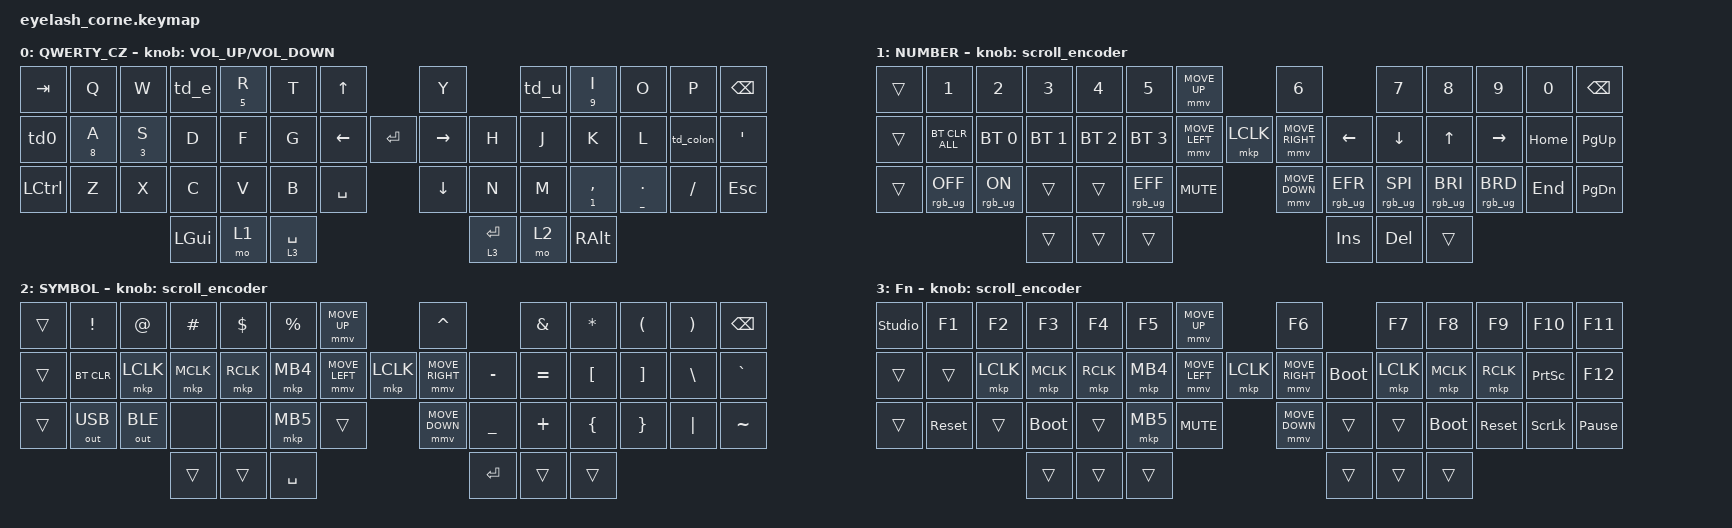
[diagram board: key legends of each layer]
/*
eyelash_corne.keymap (DTS overlay)
Ulož pod config/ jako eyelash_corne.keymap
*/

#include <input/processors.dtsi>
#include <zephyr/dt-bindings/input/input-event-codes.h>
#include <behaviors.dtsi>
#include <dt-bindings/zmk/bt.h>
#include <dt-bindings/zmk/keys.h>
#include <dt-bindings/zmk/outputs.h>
#include <dt-bindings/zmk/pointing.h>
#include <dt-bindings/zmk/rgb.h>

&mmv_input_listener { input-processors = <&zip_xy_scaler 2 1>; };
&msc_input_listener { input-processors = <&zip_scroll_scaler 2 1>; };

&msc {
    acceleration-exponent = <1>;
    time-to-max-speed-ms = <100>;
    delay-ms = <0>;
};

&mmv {
    time-to-max-speed-ms = <500>;
    acceleration-exponent = <1>;
    trigger-period-ms = <16>;
};

/ {
    behaviors {
        td0: td0 {
            compatible = "zmk,behavior-tap-dance";
            display-name = "Shift/Caps Lock Tap Dance";
            #binding-cells = <0>;
            bindings = <&kp LEFT_SHIFT>, <&kp CAPS>;
            tapping-term-ms = <200>;
        };

        td_e: td_e {
            compatible = "zmk,behavior-tap-dance";
            #binding-cells = <0>;
            bindings = <&kp E>, <&kp N9>, <&kp N3>; // E, é, ě
            tapping-term-ms = <200>;
        };

        td_u: td_u {
            compatible = "zmk,behavior-tap-dance";
            #binding-cells = <0>;
            bindings = <&kp U>, <&kp EQUAL>, <&kp LS(N9)>; // U, ú, ů
            tapping-term-ms = <200>;
        };

        // České znaky - TAP = normální písmeno, HOLD = diakritika z číselné řady
        cz_ht: cz_ht {
            compatible = "zmk,behavior-hold-tap";
            #binding-cells = <2>;
            flavor = "tap-preferred";
            tapping-term-ms = <200>;
            quick-tap-ms = <125>;
            bindings = <&kp>, <&kp>; // První parametr = HOLD, druhý = TAP
        };

        td_colon: td_colon {
            compatible = "zmk,behavior-tap-dance";
            #binding-cells = <0>;
            bindings = <&kp LS(DOT)>, <&kp SLASH>, <&kp LS(RBKT)>; // :, /, *
            tapping-term-ms = <200>;
        };

        // Čárka s 1
        cz_comma: cz_comma {
            compatible = "zmk,behavior-hold-tap";
            #binding-cells = <2>;
            flavor = "tap-preferred";
            tapping-term-ms = <200>;
            quick-tap-ms = <125>;
            bindings = <&kp>, <&kp>;
        };

        // Tečka s _
        cz_dot: cz_dot {
            compatible = "zmk,behavior-hold-tap";
            #binding-cells = <2>;
            flavor = "tap-preferred";
            tapping-term-ms = <200>;
            quick-tap-ms = <125>;
            bindings = <&kp>, <&kp>;
        };
    };

    macros {
        // Jednoduché makra nejsou potřeba, použijeme přímé key codes
    };

    rgb_encoder: rgb_encoder {
        compatible = "zmk,behavior-sensor-rotate";
        #sensor-binding-cells = <0>;
        bindings = <&rgb_ug RGB_BRI>, <&rgb_ug RGB_BRD>;
    };

    scroll_encoder: scroll_encoder {
        compatible = "zmk,behavior-sensor-rotate";
        #sensor-binding-cells = <0>;
        bindings = <&msc SCRL_DOWN>, <&msc SCRL_UP>;
        tap-ms = <100>;
    };

    keymap {
        compatible = "zmk,keymap";

        default_layer {
            display-name = "QWERTY_CZ";
            bindings = <
&kp TAB    &kp Q             &kp W             &td_e                      &cz_ht N5 R           &kp T                               &kp UP                &kp Y            &td_u            &cz_ht N9 I      &kp O            &kp P             &kp BSPC
&td0       &cz_ht N8 A       &cz_ht N3 S       &kp D                      &kp F                 &kp G                             &kp LEFT  &kp ENTER  &kp RIGHT  &kp H            &kp J            &kp K            &kp L            &td_colon         &kp SQT
&kp LCTRL  &kp Z             &kp X             &kp C                      &kp V                 &kp B                   &kp SPACE              &kp DOWN              &kp N            &kp M            &cz_comma N1 COMMA &cz_dot UNDER DOT &kp FSLH         &kp ESC
                                               &kp LGUI                   &mo 1                 &lt 3 SPACE                                                        &lt 3 ENTER      &mo 2            &kp RALT
            >;

            sensor-bindings = <&inc_dec_kp C_VOLUME_UP C_VOLUME_DOWN>;
        };

        lower_layer {
            display-name = "NUMBER";
            bindings = <
&trans  &kp N1           &kp N2          &kp N3        &kp N4        &kp N5                                         &mmv MOVE_UP                     &kp N6           &kp N7           &kp N8           &kp N9           &kp N0    &kp BSPC
&trans  &bt BT_CLR_ALL   &bt BT_SEL 0    &bt BT_SEL 1  &bt BT_SEL 2  &bt BT_SEL 3                   &mmv MOVE_LEFT  &mkp LCLK       &mmv MOVE_RIGHT  &kp LEFT         &kp DOWN         &kp UP           &kp RIGHT        &kp HOME  &kp PG_UP
&trans  &rgb_ug RGB_OFF  &rgb_ug RGB_ON  &trans        &trans        &rgb_ug RGB_EFF  &kp C_MUTE                    &mmv MOVE_DOWN                   &rgb_ug RGB_EFR  &rgb_ug RGB_SPI  &rgb_ug RGB_BRI  &rgb_ug RGB_BRD  &kp END   &kp PG_DN
                                         &trans        &trans        &trans                                                                          &kp INS          &kp DEL          &trans
            >;

            sensor-bindings = <&scroll_encoder>;
        };

        raise_layer {
            display-name = "SYMBOL";
            bindings = <
&trans  &kp EXCL      &kp AT        &kp HASH   &kp DLLR   &kp PRCNT                            &mmv MOVE_UP                     &kp CARET  &kp AMPS   &kp ASTRK  &kp LPAR  &kp RPAR  &kp BSPC
&trans  &bt BT_CLR    &mkp LCLK     &mkp MCLK  &mkp RCLK  &mkp MB4             &mmv MOVE_LEFT  &mkp LCLK       &mmv MOVE_RIGHT  &kp MINUS  &kp EQUAL  &kp LBKT   &kp RBKT  &kp BSLH  &kp GRAVE
&trans  &out OUT_USB  &out OUT_BLE  &none      &none      &mkp MB5   &trans                    &mmv MOVE_DOWN                   &kp UNDER  &kp PLUS   &kp LBRC   &kp RBRC  &kp PIPE  &kp TILDE
                                    &trans     &trans     &kp SPACE                                                             &kp RET    &trans     &trans
            >;

            sensor-bindings = <&scroll_encoder>;
        };

        layer_3 {
            display-name = "Fn";
            bindings = <
&studio_unlock  &kp F1      &kp F2     &kp F3       &kp F4     &kp F5                                  &mmv MOVE_UP                     &kp F6       &kp F7     &kp F8       &kp F9      &kp F10          &kp F11
&trans          &trans      &mkp LCLK  &mkp MCLK    &mkp RCLK  &mkp MB4                &mmv MOVE_LEFT  &mkp LCLK       &mmv MOVE_RIGHT  &bootloader  &mkp LCLK  &mkp MCLK    &mkp RCLK   &kp PRINTSCREEN  &kp F12
&trans          &sys_reset  &trans     &bootloader  &trans     &mkp MB5  &kp C_MUTE                    &mmv MOVE_DOWN                   &trans       &trans     &bootloader  &sys_reset  &kp SCROLLLOCK   &kp PAUSE_BREAK
                                       &trans       &trans     &trans                                                                   &trans       &trans     &trans
            >;

            sensor-bindings = <&scroll_encoder>;
        };
    };
};
